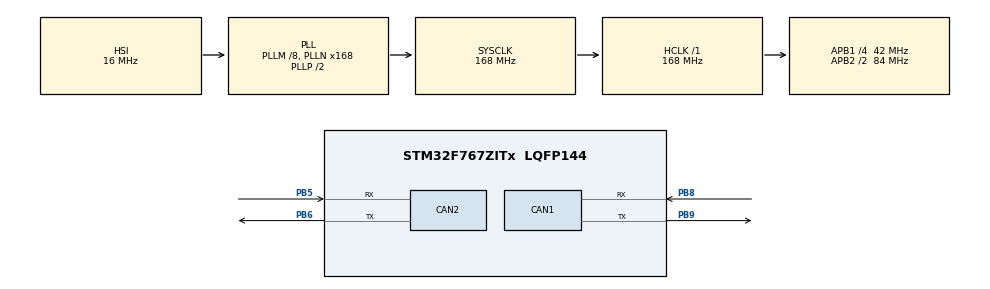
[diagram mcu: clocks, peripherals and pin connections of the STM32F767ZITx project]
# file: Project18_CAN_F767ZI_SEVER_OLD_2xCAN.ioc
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CAN1.BS1=CAN_BS1_3TQ
CAN1.BS2=CAN_BS2_5TQ
CAN1.CalculateTimeQuantum=380.95238095238096
CAN2.BS1=CAN_BS1_3TQ
CAN2.BS2=CAN_BS2_5TQ
CAN2.CalculateTimeQuantum=380.95238095238096
Mcu.Family=STM32F7
Mcu.Name=STM32F767ZITx
Mcu.Package=LQFP144
NVIC.PriorityGroup=NVIC_PRIORITYGROUP_4
PB5.Mode=Slave
PB5.Signal=CAN2_RX
PB6.Mode=Slave
PB6.Signal=CAN2_TX
PB8.Mode=Master
PB8.Signal=CAN1_RX
PB9.Mode=Master
PB9.Signal=CAN1_TX
PH0/OSC_IN.Mode=HSE-External-Oscillator
PH0/OSC_IN.Signal=RCC_OSC_IN
PH1/OSC_OUT.Mode=HSE-External-Oscillator
PH1/OSC_OUT.Signal=RCC_OSC_OUT
ProjectManager.HeapSize=0x200
ProjectManager.StackSize=0x400
ProjectManager.TargetToolchain=EWARM V8
RCC.48MHZClocksFreq_Value=24000000
RCC.AHBFreq_Value=168000000
RCC.APB1CLKDivider=RCC_HCLK_DIV4
RCC.APB1Freq_Value=42000000
RCC.APB1TimFreq_Value=84000000
RCC.APB2CLKDivider=RCC_HCLK_DIV2
RCC.APB2Freq_Value=84000000
RCC.APB2TimFreq_Value=168000000
RCC.CortexFreq_Value=168000000
RCC.HCLKFreq_Value=168000000
RCC.HSE_VALUE=16000000
RCC.HSI_VALUE=16000000
RCC.LSE_VALUE=32768
RCC.PLLM=8
RCC.PLLMUL=RCC_PLL_MUL9
RCC.PLLN=168
RCC.PRESCALERUSB=RCC_USBCLKSOURCE_PLL_DIV1_5
RCC.SYSCLKFreq_VALUE=168000000
RCC.SYSCLKSource=RCC_SYSCLKSOURCE_PLLCLK
RCC.SYSCLKSourceVirtual=RCC_SYSCLKSOURCE_PLLCLK
RCC.USBFreq_Value=168000000
RCC.VCOOutputFreq_Value=336000000
board=NUCLEO-F767ZI

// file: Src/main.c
/* USER CODE BEGIN Header */
/**
  ******************************************************************************
  * @file           : main.c
  * @brief          : Main program body
  ******************************************************************************
  * @attention
  *
  * <h2><center>&copy; Copyright (c) 2021 STMicroelectronics.
  * All rights reserved.</center></h2>
  *
  * This software component is licensed by ST under BSD 3-Clause license,
  * the "License"; You may not use this file except in compliance with the
  * License. You may obtain a copy of the License at:
  *                        opensource.org/licenses/BSD-3-Clause
  *
  ******************************************************************************
  */
/* USER CODE END Header */

#include "main.h"

CAN_HandleTypeDef hcan1;
CAN_HandleTypeDef hcan2;

/* USER CODE BEGIN PV */
uint8_t i, RxData;
/* USER CODE END PV */

void SystemClock_Config(void);
static void MX_GPIO_Init(void);
static void MX_CAN1_Init(void);
static void MX_CAN2_Init(void);
/* USER CODE BEGIN PFP */
void CAN1_Tx(uint8_t data){
  CAN1->sTxMailBox[0].TDLR=data;
  CAN1->sTxMailBox[0].TIR|=1;
}

uint8_t CAN2_Rx(void){
while(!CAN2->RF0R&3);
uint8_t RxD=(CAN2->sFIFOMailBox[0].RDLR)&0xFF;
CAN2->RF0R|=1<<5;
return RxD;

}
/* USER CODE END PFP */

int main(void)
{

  /* MCU Configuration--------------------------------------------------------*/

  /* Reset of all peripherals, Initializes the Flash interface and the Systick. */
  HAL_Init();

  /* Configure the system clock */
  SystemClock_Config();

  /* Initialize all configured peripherals */
  MX_GPIO_Init();
  MX_CAN1_Init();
  MX_CAN2_Init();
  /* USER CODE BEGIN 2 */
CAN1->sTxMailBox[0].TIR=0;
CAN1->sTxMailBox[0].TIR=0x245<<21;
CAN1->sTxMailBox[0].TDHR=0;
CAN1->sTxMailBox[0].TDTR=1;

CAN1->FMR|=1<<0;
CAN1->FMR|=14<<8;
CAN1->FS1R|=1<<14;
CAN1->sFilterRegister[14].FR1=0x245<<21;
CAN1->FM1R|=1<<14;
CAN1->FA1R|=1<<14;
CAN1->FMR&=~(1<<0);

  /* USER CODE END 2 */

  /* Infinite loop */
  /* USER CODE BEGIN WHILE */
  while (1)
  {
    i++;
    if(i>25) i=0;
    CAN1_Tx(i);
    RxData = CAN2_Rx();
    HAL_Delay(1000);
    /* USER CODE END WHILE */

  }
}

void SystemClock_Config(void)
{
  RCC_OscInitTypeDef RCC_OscInitStruct = {0};
  RCC_ClkInitTypeDef RCC_ClkInitStruct = {0};

  /** Configure the main internal regulator output voltage
  */
  __HAL_RCC_PWR_CLK_ENABLE();
  __HAL_PWR_VOLTAGESCALING_CONFIG(PWR_REGULATOR_VOLTAGE_SCALE2);
  /** Initializes the CPU, AHB and APB busses clocks
  */
  RCC_OscInitStruct.OscillatorType = RCC_OSCILLATORTYPE_HSI;
  RCC_OscInitStruct.HSIState = RCC_HSI_ON;
  RCC_OscInitStruct.HSICalibrationValue = RCC_HSICALIBRATION_DEFAULT;
  RCC_OscInitStruct.PLL.PLLState = RCC_PLL_ON;
  RCC_OscInitStruct.PLL.PLLSource = RCC_PLLSOURCE_HSI;
  RCC_OscInitStruct.PLL.PLLM = 8;
  RCC_OscInitStruct.PLL.PLLN = 168;
  RCC_OscInitStruct.PLL.PLLP = RCC_PLLP_DIV2;
  RCC_OscInitStruct.PLL.PLLQ = 2;
  if (HAL_RCC_OscConfig(&RCC_OscInitStruct) != HAL_OK)
  {
    Error_Handler();
  }
  /** Initializes the CPU, AHB and APB busses clocks
  */
  RCC_ClkInitStruct.ClockType = RCC_CLOCKTYPE_HCLK|RCC_CLOCKTYPE_SYSCLK
                              |RCC_CLOCKTYPE_PCLK1|RCC_CLOCKTYPE_PCLK2;
  RCC_ClkInitStruct.SYSCLKSource = RCC_SYSCLKSOURCE_PLLCLK;
  RCC_ClkInitStruct.AHBCLKDivider = RCC_SYSCLK_DIV1;
  RCC_ClkInitStruct.APB1CLKDivider = RCC_HCLK_DIV4;
  RCC_ClkInitStruct.APB2CLKDivider = RCC_HCLK_DIV2;

  if (HAL_RCC_ClockConfig(&RCC_ClkInitStruct, FLASH_LATENCY_5) != HAL_OK)
  {
    Error_Handler();
  }
}

static void MX_CAN1_Init(void)
{

  hcan1.Instance = CAN1;
  hcan1.Init.Prescaler = 16;
  hcan1.Init.Mode = CAN_MODE_NORMAL;
  hcan1.Init.SJW = CAN_SJW_1TQ;
  hcan1.Init.BS1 = CAN_BS1_3TQ;
  hcan1.Init.BS2 = CAN_BS2_5TQ;
  hcan1.Init.TTCM = DISABLE;
  hcan1.Init.ABOM = DISABLE;
  hcan1.Init.AWUM = DISABLE;
  hcan1.Init.NART = DISABLE;
  hcan1.Init.RFLM = DISABLE;
  hcan1.Init.TXFP = DISABLE;
  if (HAL_CAN_Init(&hcan1) != HAL_OK)
  {
    Error_Handler();
  }

}

static void MX_CAN2_Init(void)
{

  hcan2.Instance = CAN2;
  hcan2.Init.Prescaler = 16;
  hcan2.Init.Mode = CAN_MODE_NORMAL;
  hcan2.Init.SJW = CAN_SJW_1TQ;
  hcan2.Init.BS1 = CAN_BS1_3TQ;
  hcan2.Init.BS2 = CAN_BS2_5TQ;
  hcan2.Init.TTCM = DISABLE;
  hcan2.Init.ABOM = DISABLE;
  hcan2.Init.AWUM = DISABLE;
  hcan2.Init.NART = DISABLE;
  hcan2.Init.RFLM = DISABLE;
  hcan2.Init.TXFP = DISABLE;
  if (HAL_CAN_Init(&hcan2) != HAL_OK)
  {
    Error_Handler();
  }

}

static void MX_GPIO_Init(void)
{

  /* GPIO Ports Clock Enable */
  __HAL_RCC_GPIOH_CLK_ENABLE();
  __HAL_RCC_GPIOB_CLK_ENABLE();

}

void Error_Handler(void)
{
}

/************************ (C) COPYRIGHT STMicroelectronics *****END OF FILE****/
